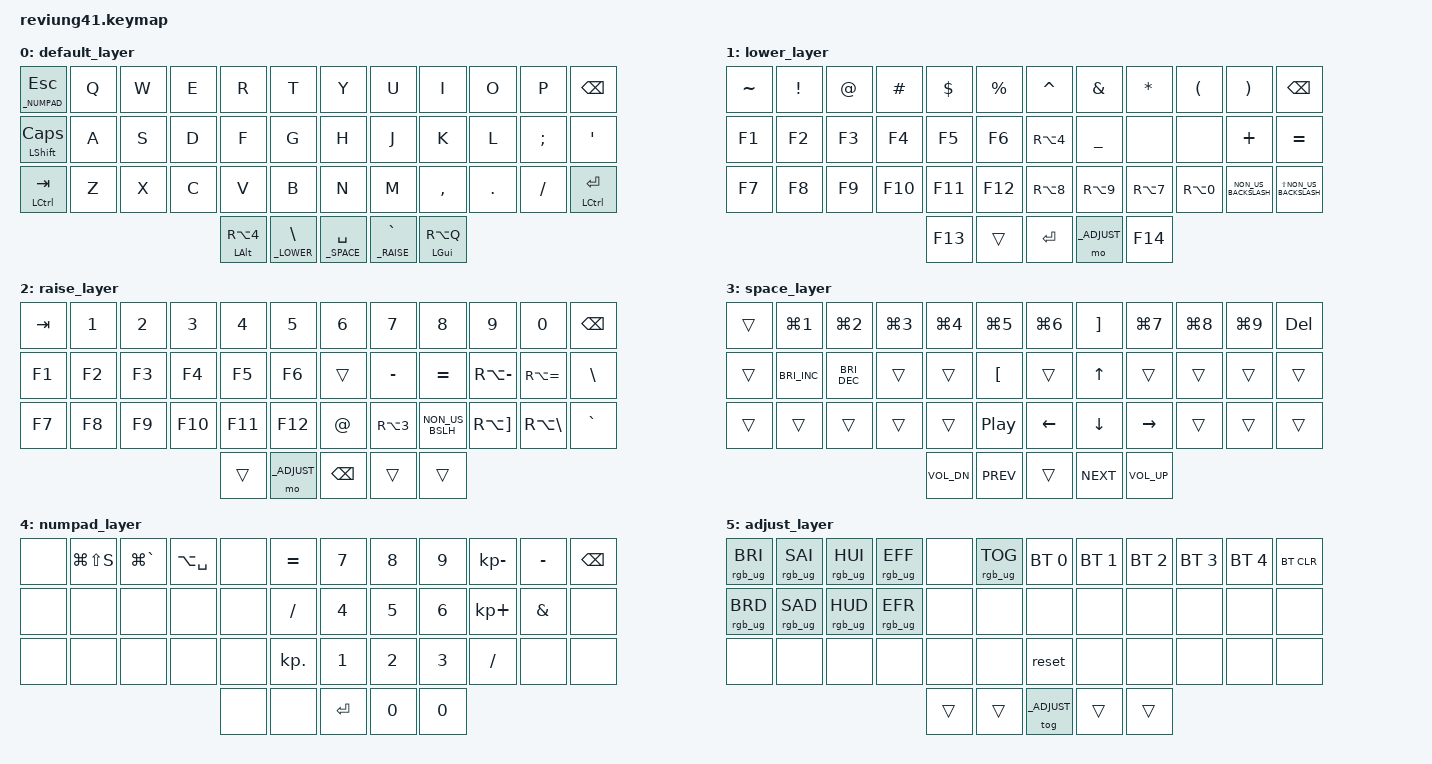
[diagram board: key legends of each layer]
/*
 * Copyright (c) 2020 The ZMK Contributors
 *
 * SPDX-License-Identifier: MIT
 */

#include <behaviors.dtsi>
#include <dt-bindings/zmk/keys.h>
#include <dt-bindings/zmk/bt.h>
#include <dt-bindings/zmk/rgb.h>

/*
 * Temporarily here because nice nano v2 spi is not defined on ZMk Yet
 * Source: https://github.com/zmkfirmware/zmk/blob/main/app/boards/shields/reviung41/boards/nice_nano.overlay
 * GitHub Issue: https://github.com/zmkfirmware/zmk/issues/885
 */

#include <dt-bindings/led/led.h>
&spi1 {
	compatible = "nordic,nrf-spim";
	status = "okay";
	mosi-pin = <6>;
	// Unused pins, needed for SPI definition, but not used by the ws2812 driver itself.
	sck-pin = <5>;
	miso-pin = <7>;

	led_strip: ws2812@0 {
		compatible = "worldsemi,ws2812-spi";
		label = "WS2812";

		/* SPI */
		reg = <0>; /* ignored, but necessary for SPI bindings */
		spi-max-frequency = <4000000>;

		/* WS2812 */
		chain-length = <11>; /* arbitrary; change at will */
		spi-one-frame = <0x70>;
		spi-zero-frame = <0x40>;
		color-mapping = <LED_COLOR_ID_GREEN LED_COLOR_ID_RED LED_COLOR_ID_BLUE>;
	};
};

/ {
	chosen {
		zmk,underglow = &led_strip;
	};
};


// For QMK:
// KC_NONUS_BSLASH (\|) is equivalent to ["é] key in Turkish keyboards.
// KC_GRV (~ `) is equivalent to [<>|] key in Turkish keyboards.
// KC_SCLN is Turkish s [şŞ] key
// KC_QUOT is Turkish i [iİ] key
// KC_COMM is Turkish o [öÖ] key
// KC_DOT is Turkish c [çÇ] key

// For ZMK:
// NON_US_BACKSLASH (\|) is equivalent to ["é] key in Turkish keyboards.
// GRAVE (~ `) is equivalent to [<>|] key in Turkish keyboards.
// SEMI (;) is Turkish s [şŞ] key
// SQT (') is Turkish i [iİ] key
// COMMA (,) is Turkish o [öÖ] key
// DOT (.) is Turkish c [çÇ] key
// FSLH (/) is Turkish dot [.:] key
// BSLH (\) is Turkish comma (,;) key

// Custom shortcuts specific to Turkish layout
#define _CURLY_OPEN RA(N7)
#define _CURLY_CLOSE RA(N0)
#define _AT_SIGN RA(Q)
#define _SQUARE_OPEN RA(N8)
#define _SQUARE_CLOSE RA(N9)
#define _DOLLAR_SIGN RA(N4)
#define _BACKSLASH RA(MINUS)
#define _VERTICAL_PIPE RA(EQUAL)
#define _BACKTICK RA(BACKSLASH)
#define _TILDE RA(RIGHT_BRACKET)
#define _NUMBER_SIGN RA(N3) //hashtag sign
#define _LESS NON_US_BACKSLASH  // <
#define _GREATER LS(NON_US_BACKSLASH) // >

#define _SSWIN LG(LS(S)) //Screenshot shortcut for Windows
#define _LYWIN LG(GRAVE) // PoweToys Layout Edit
#define _LNCHRWIN LA(SPACE) // PowerToys Launcher
#define _LOCKSCREEN LC(LS(C_PWR)) // Screen Lock shortcut for OSX

// Layers
#define _QWERTY 0
#define _LOWER 1
#define _RAISE 2
#define _SPACE 3
#define _NUMPAD 4
// #define _SODA 5
#define _ADJUST 5


/*
 * Temporarily here because nice nano v2 spi is not defined on ZMk YET
 */


/ {
        keymap {
                compatible = "zmk,keymap";

                default_layer {
// -------------------------------------------------------------------------------------
// |Npd/ESC|  Q  |  W  |  E  |  R  |  T  |   |  Y  |  U   |  I  |  O  |  P  |   BKSP  |
// |Sft/Cps|  A  |  S  |  D  |  F  |  G  |   |  H  |  J   |  K  |  L  |  Ş  |    İ    |
// |LCtlTab|  Z  |  X  |  C  |  V  |  B  |   |  N  |  M   |  Ö  |  Ç  |  .  | LCtlEnt |
//                         |LALT/$| LWR/, | SPC* | RSE/"  | LGUI/@ |
                        bindings = <
   &lt _NUMPAD ESC  &kp Q  &kp W  &kp E  &kp R  &kp T           &kp Y  &kp U  &kp I  &kp O  &kp P  &kp BSPC
   &mt LSHFT CLCK  &kp A  &kp S  &kp D  &kp F  &kp G            &kp H  &kp J  &kp K  &kp L  &kp SEMI  &kp SQT
   &mt LCTRL TAB  &kp Z  &kp X  &kp C  &kp V  &kp B             &kp N  &kp M  &kp COMMA  &kp DOT  &kp FSLH  &mt LCTRL RET
        &mt LALT _DOLLAR_SIGN  &lt _LOWER BSLH    &lt _SPACE SPACE    &lt _RAISE GRAVE  &mt LGUI _AT_SIGN
                        >;
                };

                lower_layer {
// ----------------------------------------------------------------------------------
// |  >  |  !  |  '  |  ^  |  +  |  %  |   |  &  |  /  |  (  |  )  |  =  |   BKSP    |
// | F1  | F2  | F3  | F4  | F5  | F6  |   | "$" |  ?  |    |    |  _  |     -     |
// | F7  | F8  | F9  | F10 | F11 | F12 |   | "[" | "]" | "{" | "}" |  <  |    ">"    |
//                       | F13  |    |  RET  | ADJ | F14 |
                        bindings = <
   &kp TILDE  &kp EXCL  &kp AT  &kp HASH  &kp DLLR  &kp PRCNT           &kp CARET  &kp AMPS  &kp ASTERISK  &kp LPAR  &kp RPAR  &kp BSPC
   &kp F1  &kp F2  &kp F3  &kp F4  &kp F5  &kp F6                       &kp _DOLLAR_SIGN  &kp UNDERSCORE     &none &none &kp PLUS  &kp EQUAL
   &kp F7  &kp F8  &kp F9  &kp F10  &kp F11  &kp F12                    &kp _SQUARE_OPEN  &kp _SQUARE_CLOSE  &kp _CURLY_OPEN  &kp _CURLY_CLOSE  &kp _LESS   &kp _GREATER
                        &kp F13  &trans    &kp RET    &mo _ADJUST  &kp F14 /* TODO */
                        >;
                };

                raise_layer {
// -----------------------------------------------------------------------------------------
// | Tab |  1  |  2  |  3  |  4  |  5  |   |  6  |  7  |  8  |  9  |  0  | BKSP |
// | F1  | F2  | F3  | F4  | F5  | F6  |   |     |  *  |  -  | "\" | "|" |  ,   |
// | F7  | F8  | F9  | F10 | F11 | F12 |   |  '  |  #  |  "  | "~" | "`" |  <>| |
//                       |     | ADJ | BKSP |    |     |
                        bindings = <
   &kp TAB  &kp N1  &kp N2  &kp N3  &kp N4  &kp N5              &kp N6  &kp N7  &kp N8  &kp N9  &kp N0  &kp BSPC
   &kp F1  &kp F2  &kp F3  &kp F4  &kp F5  &kp F6     /*Todo ?*/&trans  &kp MINUS  &kp EQUAL  &kp _BACKSLASH  &kp _VERTICAL_PIPE  &kp BACKSLASH
   &kp F7  &kp F8  &kp F9  &kp F10  &kp F11  &kp F12            &kp AT_SIGN  &kp _NUMBER_SIGN  &kp NON_US_BSLH  &kp _TILDE  &kp _BACKTICK  &kp GRAVE
                        /* TODO */ &trans  &mo _ADJUST    &kp BSPC    &trans    &trans /* TODO */
                        >;
                };


                space_layer {
// -----------------------------------------------------------------------------------------
// |     |CMD+1|CMD+2|CMD+3|CMD+4|CMD+5|   | CMD+6 |   Ü   |CMD+7|CMD+8|CMD+9|DELETE|
// |     |Brgt▼|Brgt▲|     |     |  Ğ   |   |      |UP |    |   |     |      |
// |     |     |     |     |     |PlayPse|   |LEFT|DOWN|RIGHT|     |     |      |
//                  |  Vol-    | Prev |     | Next  |  Vol+   |
                        bindings = <
   &trans  &kp LG(N1)  &kp LG(N2)  &kp LG(N3)  &kp LG(N4)  &kp LG(N5)           &kp LG(N6) &kp RIGHT_BRACKET  &kp LG(N7)  &kp LG(N8)  &kp LG(N9)   &kp DEL
   &trans  &kp C_BRI_INC  &kp C_BRI_DEC &trans &trans &kp LEFT_BRACKET          &trans    &kp UP    &trans     &trans  &trans  &trans
   &trans  &trans  &trans  &trans  &trans  &kp C_PLAY_PAUSE                     &kp LEFT  &kp DOWN  &kp RIGHT  &trans  &trans  &trans
                        &kp C_VOL_DN  &kp C_PREV    &trans    &kp C_NEXT     &kp C_VOL_UP /* TODO arrow keys instead of media keys ?*/
                        >;
                };

                // KP_DOT is comma on the Turkish layout ¯\_(ツ)_/¯
                numpad_layer {
// -----------------------------------------------------------------------------------------
// |     |SSWIN|LYWIN|LNCHRWIN|     |   =  |   |Num7 |Num8 |Num9 |  -  |  *  | BKSP |
// |     |     |     |     |     |  .   |   |Num4 |Num5 |Num6 |  +  |  /  |     |
// |     |     |     |     |     |  ,   |   |Num1 |Num2 |Num3 |  .  |     |     |
//                   |      |     | Enter |  Num0   |  Num0   |
                        bindings = <
   &none    &kp _SSWIN  &kp _LYWIN  &kp _LNCHRWIN  &none  &kp EQUAL                 &kp N7  &kp N8  &kp N9  &kp KP_MINUS  &kp MINUS  &kp BSPC
   &none         &none  &none  &none  &none  &kp SLASH                 &kp N4  &kp N5  &kp N6  &kp KP_PLUS   &kp AMPS   &none
   &none         &none  &none  &none  &none  &kp KP_DOT                &kp N1  &kp N2  &kp N3  &kp SLASH     &none      &none
                                &none  &none    &kp RET    &kp N0  &kp N0 
                        >;
                };

                adjust_layer {
// -----------------------------------------------------------------------------------------
// | RGB BRI+ | RGB SAT+ | RGB HUE+ | RGB ANI+ |    | RGB TOG |   |  BT1  | BT2 | BT3 | BT4 | BT5 | BT CLR |
// | RGB BRI- | RGB SAT- | RGB HUE- | RGB ANI+ |    |         |   |       |     |     |     |     |        |
// |          |          |          |          |    |         |   | RESET |     |     |     |     |        |
//                                              |     |     |     |     |     |
                        bindings = <
   &rgb_ug RGB_BRI &rgb_ug RGB_SAI &rgb_ug RGB_HUI &rgb_ug RGB_EFF &none &rgb_ug RGB_TOG    &bt BT_SEL 0 &bt BT_SEL 1 &bt BT_SEL 2 &bt BT_SEL 3 &bt BT_SEL 4 &bt BT_CLR
   &rgb_ug RGB_BRD &rgb_ug RGB_SAD &rgb_ug RGB_HUD &rgb_ug RGB_EFR &none &none              &none        &none        &none        &none        &none        &none
   &none           &none           &none           &none           &none &none              &reset       &none        &none        &none        &none        &none
                                                             &trans      &trans       &tog _ADJUST        &trans      &trans
                        >;
                };
        };
};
